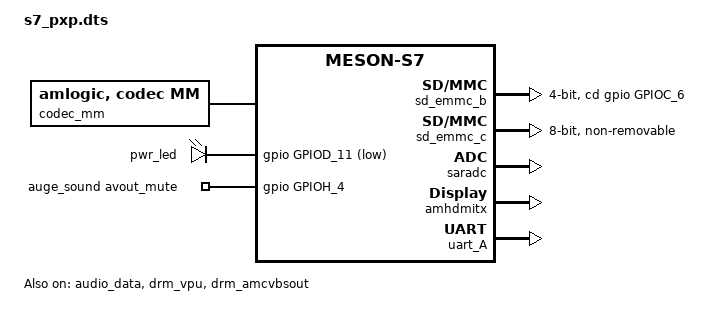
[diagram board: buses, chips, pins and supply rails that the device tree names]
// SPDX-License-Identifier: (GPL-2.0+ OR MIT)
/*
 * Copyright (c) 2021 Amlogic, Inc. All rights reserved.
 */

/dts-v1/;

#include "meson-s7.dtsi"
#include "mesons7_drm.dtsi"
#include "mesons7_audio.dtsi"
/ {
	amlogic-dt-id = "s7_pxp";
	compatible = "s7_pxp";
	interrupt-parent = <&gic>;
	#address-cells = <2>;
	#size-cells = <2>;

	aliases {
		serial0 = &uart_B;
		serial1 = &uart_A;
		serial2 = &uart_C;
		serial3 = &uart_D;
		serial4 = &uart_E;
		i2c0 = &i2c0;
		i2c1 = &i2c1;
		i2c2 = &i2c2;
		i2c3 = &i2c3;
		i2c4 = &i2c4;
		spi0 = &spifc;
		spi1 = &spicc0;
		tsensor0 = &p_tsensor;
	};

	memory@00000000 {
		device_type = "memory";
		linux,usable-memory = <0x0 0x0 0x0 0x80000000>;
	};

	reserved-memory {
		#address-cells = <2>;
		#size-cells = <2>;
		ranges;

		ramdump_bl33z@00000000 {
			reg = <0x0 0x0 0x0 0x1800000>; /* 0 ~ 24M */
			status = "disabled";
		};

		/* global autoconfigured region for contiguous allocations */
		ramoops@0x07400000 {
			compatible = "ramoops";
			reg = <0x0 0x07400000 0x0 0x00100000>;
			record-size = <0x20000>;
			console-size = <0x40000>;
			ftrace-size = <0x80000>;
			pmsg-size = <0x10000>;
			bconsole-size = <0x10000>;
		};

		debug_reserved:linux,iotrace {
			compatible = "amlogic, iotrace";
			reg = <0x0 0x04f00000 0x0 0x00100000>;
			io-size = <0x1b000>;
			sched-size = <0x2000>;
			irq-size = <0x1000>;
			smc-size = <0x1000>;
			misc-size = <0x1000>;
		};

		secmon_reserved:linux,secmon {
			compatible = "shared-dma-pool";
			/*reusable;*/
			no-map;
			size = <0x0 0x400000>;
			alignment = <0x0 0x400000>;
			reg = <0x0 0x05000000 0x0 0x3400000>;
		};

		logo_reserved:linux,meson-fb {
			compatible = "amlogic, meson-fb";
			alignment = <0x0 0x400000>;
			reg = <0x0 0x1f800000 0x0 0x800000>;
		};

		ion_cma_reserved:linux,ion-dev {
			compatible = "shared-dma-pool";
			reusable;
			size = <0x0 0x8000000>;
			alignment = <0x0 0x400000>;
		};
		ion_fb_reserved:linux,ion-fb {
			compatible = "shared-dma-pool";
			reusable;
			size = <0x0 0x0>;
			alignment = <0x0 0x400000>;
		};
		dmaheap_cma_reserved:heap-gfx {
			compatible = "shared-dma-pool";
			reusable;
			/* 1080p STB androidT size 56M */
			size = <0x0 0x1000000>;
			alignment = <0x0 0x400000>;
		};
		dmaheap_fb_reserved:heap-fb {
			compatible = "shared-dma-pool";
			reusable;
			size = <0x0 0x0>;
			alignment = <0x0 0x400000>;
		};
		/*di CMA pool */
		di_cma_reserved:linux,di_cma {
			compatible = "shared-dma-pool";
			reusable;
			/* buffer_size = 3621952(yuv422 8bit)
			 *  | 4736064(yuv422 10bit)
			 *  | 4074560(yuv422 10bit full pack mode)
			 * 10x3621952=34.6M(0x23) support 8bit
			 * 10x4736064=45.2M(0x2e) support 12bit
			 * 10x4074560=40M(0x28) support 10bit
			 */
			//size = <0x0 0x0B000000>;
			//size = <0x0 0x0>;
			alignment = <0x0 0x400000>;
		};

		/*  POST PROCESS MANAGER */
		ppmgr_reserved:linux,ppmgr {
			compatible = "shared-dma-pool";
			size = <0x0 0x0>;
		};

		codec_mm_cma:linux,codec_mm_cma {
			compatible = "shared-dma-pool";
			reusable;
			/* ion_codec_mm max can alloc size 80M*/
			size = <0x0 0x1bc00000>;
			alignment = <0x0 0x400000>;
			alloc-ranges = <0x0 0x0 0x0 0xe0000000>;
			linux,contiguous-region;
		};

		/* codec shared reserved */
		codec_mm_reserved:linux,codec_mm_reserved {
			compatible = "amlogic, codec-mm-reserved";
			size = <0x0 0x0>;
			alignment = <0x0 0x100000>;
			//no-map;
		};

		/*  vdin0 CMA pool */
		//vdin0_cma_reserved:linux,vdin0_cma {
		//	compatible = "shared-dma-pool";
		//	reusable;
			/* up to 1920x1080 yuv422 8bit and 5 buffers
			 * 1920x1080x2x5 = 20 M
			 */
		//	size = <0x0 0x01400000>;
		//	alignment = <0x0 0x400000>;
		//};
		/*  vdin1 CMA pool */
		vdin1_cma_reserved:linux,vdin1_cma {
			compatible = "shared-dma-pool";
			reusable;
			/* up to 1920x1080 yuv422 8bit and 5 buffers
			 * 1920x1080x2x5 = 20 M
			 */
			size = <0x0 0x01400000>;
			alignment = <0x0 0x400000>;
		};
		/* global autoconfigured region for contiguous allocations */
		linux,cma {
			compatible = "shared-dma-pool";
			reusable;
			size = <0x0 0x800000>;
			alignment = <0x0 0x400000>;
			linux,cma-default;
			alloc-ranges = <0x0 0x0 0x0 0x30000000>;
		};
	};
	codec_mm {
		compatible = "amlogic, codec, mm";
		memory-region = <&codec_mm_cma &codec_mm_reserved>;
		dev_name = "codec_mm";
		status = "okay";
	};
	amdolby_vision {
		compatible = "amlogic, dolby_vision_sc2";
		dev_name = "aml_amdolby_vision_driver";
		status = "disabled";
		tv_mode = <0>;/*1:enable ;0:disable*/
	};

	gpio_leds {
		compatible = "gpio-leds";
		status = "okay";
		pwr_led {
			label = "pwr_led";
			gpios = <&gpio GPIOD_11 GPIO_ACTIVE_LOW>;
			default-state = "on";
		};
	};

	dvb-extern {
		compatible = "amlogic, dvb-extern";
		dev_name = "dvb-extern";
		status = "disabled";

		/* dvb hardware main power. */
		dvb_power_gpio = <&gpio GPIOZ_5 GPIO_ACTIVE_HIGH>;
		dvb_power_value = <1>;
		dvb_power_dir = <0>; /* 0: out, 1: in. */

		fe_num = <3>; /* internal 2 * dvb-c, extern 1 * dvb-s */
		fe0_demod = "internal";
		fe0_tuner0 = <0>; /* use tuner0 */

		fe1_demod = "internal";
		fe1_tuner0 = <1>; /* use tuner1 */

		fe2_demod = "cxd2856";
		fe2_i2c_adap_id = <&i2c4>;
		fe2_demod_i2c_addr = <0xD8>;
		fe2_reset_value = <0>;
		fe2_reset_gpio = <&gpio GPIOZ_4 GPIO_ACTIVE_HIGH>;
		fe2_reset_dir = <0>; /* 0: out, 1: in. */
		fe2_ant_poweron_value = <0>;
		fe2_ant_power_gpio = <&gpio GPIOH_9 GPIO_ACTIVE_HIGH>;
		fe2_ts = <0>;
		fe2_tuner1 = <3>; /* use tuner3, only S. */

		tuner_num = <4>; /* tuner number, multi tuner support */
		tuner0_name = "r836_tuner";
		tuner0_i2c_adap = <&i2c3>;
		tuner0_i2c_addr = <0x1a>; /* 7bit */
		tuner0_xtal = <0>; /* 0: 16MHz, 1: 24MHz */
		tuner0_xtal_mode = <0>;
					/* NO_SHARE_XTAL(0)
					 * SLAVE_XTAL_SHARE(3)
					 */
		tuner0_xtal_cap = <16>;
		tuner0_lt_out = <1>;

		tuner1_name = "r836_tuner";
		tuner1_i2c_adap = <&i2c3>;
		tuner1_i2c_addr = <0x3a>; /* 7bit */
		tuner1_xtal = <0>; /* 0: 16MHz, 1: 24MHz */
		tuner1_xtal_mode = <0>;
					/* NO_SHARE_XTAL(0)
					 * SLAVE_XTAL_SHARE(3)
					 */
		tuner1_xtal_cap = <16>;
		tuner1_lt_out = <1>;

		tuner2_name = "av2018_tuner";
		tuner2_i2c_adap = <&i2c3>;
		tuner2_i2c_addr = <0xC4>; /* 8bit */
		tuner2_lt_out = <1>;

		tuner3_name = "av2018_tuner";
		tuner3_lt_out = <1>;
	};

	dvb-demux {
		compatible = "amlogic sc2, dvb-demux";
		dev_name = "dvb-demux";
		status = "disabled";

		reg = <0x0 0xfe000000 0x0 0x480000>;

		dmxdev_num = <0x11>;

		tsn_from = "demod";

		/*single demod setting */
		ts0_sid = <0x10>;
		ts0 = "serial-4wire"; /* tsinA: serial-4wire, serial-3wire */
		ts0_control = <0x0>;
		ts0_invert = <0>;

		ts1_sid = <0x11>;
		ts1 = "parallel";
		ts1_control = <0x0>;
		ts1_invert = <0>;

		ts2_sid = <0x12>;
		ts2 = "parallel";
		ts2_control = <0x0>;
		ts2_invert = <0>;

		pinctrl-names = "s_ts0";
		pinctrl-0 = <&dvb_s_ts0_pins>;
	};

	ionvideo {
		compatible = "amlogic, ionvideo";
		dev_name = "ionvideo";
		status = "okay";
	};

	amlvideo2_0 {
		compatible = "amlogic, amlvideo2";
		dev_name = "amlvideo2";
		status = "okay";
		amlvideo2_id = <0>;
		cma_mode = <1>;
	};

	amlvideo2_1 {
		compatible = "amlogic, amlvideo2";
		dev_name = "amlvideo2";
		status = "okay";
		amlvideo2_id = <1>;
		cma_mode = <1>;
	};

	ppmgr {
		compatible = "amlogic, ppmgr";
		memory-region = <&ppmgr_reserved>;
		dev_name = "ppmgr";
		status = "disabled";
	};

	amlvecm {
		compatible = "amlogic, vecm-s7";
		dev_name = "aml_vecm";
		status = "okay";
		gamma_en = <0>;/*1:enable ;0:disable*/
		wb_en = <0>;/*1:enable ;0:disable*/
		/*0: 709/601  1: bt2020*/
		tx_op_color_primary = <0>;
	};

	multi-di {
		compatible = "amlogic, dim-s4";
		status = "disabled";
		/* 0:use reserved; 1:use cma; 2:use cma as reserved */
		flag_cma = <4>;	//<1>;
		//memory-region = <&di_reserved>;
		//memory-region = <&di_cma_reserved>;
		interrupts = <0 203 1
				0 202 1>;
		interrupt-names = "pre_irq", "post_irq";
		//clocks = <&clkc CLKID_VPU_CLKB>,
		//	<&clkc CLKID_VPU>;
		//clock-names = "vpu_clkb",
		//	"vpu_mux";
		clock-range = <334 667>;
		/* buffer-size = <3621952>;(yuv422 8bit) */
		buffer-size = <4074560>;/*yuv422 fullpack*/
		/* reserve-iomap = "true"; */
		/* if enable nr10bit, set nr10bit-support to 1 */
		post-wr-support = <1>;
		nr10bit-support = <1>;
		nrds-enable = <1>;
		pps-enable = <1>;
		post_nub = <10>;
	};

	aml_dtv_demod {
		compatible = "amlogic, ddemod-s4";
		dev_name = "aml_dtv_demod";
		status = "disabled";
		/* diseqc_name = "sgm_41286"; */
		pinctrl-names="if_agc_pins", "if_agc2_pins";
		pinctrl-0=<&dtvdemod_if_agc_pins>;
		pinctrl-1=<&dtvdemod_if_agc2_pins>;
		/* pinctrl-2=<&diseqc_out>; */
		/* lnb_en-gpios = <&gpio GPIOZ_2 GPIO_ACTIVE_HIGH>; */
		/* lnb_sel-gpios = <&gpio GPIOZ_3 GPIO_ACTIVE_HIGH>; */
		/* interrupts = <GIC_SPI 142 IRQ_TYPE_EDGE_RISING>; */
		/* interrupt-names = "demod_isr"; */

		//power-domains = <&pwrdm PDID_S4_DEMOD>;
		/* clocks = <&clkc CLKID_DAC_CLK>; */
		/* clock-names = "vdac_clk_gate"; */

		reg = <0x0 0xfe350000 0x0 0x10000	/* dtv demod base */
			   0x0 0xfe000000 0x0 0x2000	/* div base */
			   0x0 0xff800000 0x0 0x1000	/* io_aobus_base */
			   0x0 0xffd01000 0x0 0x1000	/* reset */
			>;

		spectrum = <1>;
		cma_mem_size = <0>; //MB
	};

	provisionkey {
		compatible = "amlogic, provisionkey";
		status = "disabled";
		key-permit-default = "write";
		//new key not need add dts if started with KEY_PROVISION_
		KEY_PROVISION_XXX { };
		//test_my_added_keyname { };
	};//End provisionkey

	unifykey{
		compatible = "amlogic,unifykey";
		status = "okay";
		unifykey-num = <19>;
		unifykey-index-0 = <&keysn_0>;
		unifykey-index-1 = <&keysn_1>;
		unifykey-index-2 = <&keysn_2>;
		unifykey-index-3 = <&keysn_3>;
		unifykey-index-4 = <&keysn_4>;
		unifykey-index-5 = <&keysn_5>;
		unifykey-index-6 = <&keysn_6>;
		unifykey-index-7 = <&keysn_7>;
		unifykey-index-8 = <&keysn_8>;
		unifykey-index-9 = <&keysn_9>;
		unifykey-index-10= <&keysn_10>;
		unifykey-index-11= <&keysn_11>;
		unifykey-index-12= <&keysn_12>;
		unifykey-index-13= <&keysn_13>;
		unifykey-index-14= <&keysn_14>;
		unifykey-index-15= <&keysn_15>;
		unifykey-index-16= <&keysn_16>;
		unifykey-index-17= <&keysn_17>;
		unifykey-index-18= <&keysn_18>;

		keysn_0: key_0{
			key-name = "usid";
			key-device = "normal";
			key-permit = "read","write","del";
		};
		keysn_1:key_1{
			key-name = "mac";
			key-device = "normal";
			key-permit = "read","write","del";
		};
		keysn_2:key_2{
			key-name = "hdcp";
			key-device = "secure";
			key-type = "sha1";
			key-permit = "read","write","del";
		};
		keysn_3:key_3{
			key-name = "secure_boot_set";
			key-device = "efuse";
			key-permit = "write";
		};
		keysn_4:key_4{
			key-name = "mac_bt";
			key-device = "normal";
			key-permit = "read","write","del";
			key-type  = "mac";
		};
		keysn_5:key_5{
			key-name = "mac_wifi";
			key-device = "normal";
			key-permit = "read","write","del";
			key-type = "mac";
		};
		keysn_6:key_6{
			key-name = "hdcp2_tx";
			key-device = "normal";
			key-permit = "read","write","del";
		};
		keysn_7:key_7{
			key-name = "hdcp2_rx";
			key-device = "normal";
			key-permit = "read","write","del";
		};
		keysn_8:key_8{
			key-name = "widevinekeybox";
			key-device = "secure";
			key-permit = "read","write","del";
		};
		keysn_9:key_9{
			key-name = "deviceid";
			key-device = "normal";
			key-permit = "read","write","del";
		};
		keysn_10:key_10{
			key-name = "hdcp22_fw_private";
			key-device = "secure";
			key-permit = "read","write","del";
		};
		keysn_11:key_11{
			key-name = "PlayReadykeybox25";
			key-device = "secure";
			key-permit = "read","write","del";
		};
		keysn_12:key_12{
			key-name = "prpubkeybox";//PlayReady
			key-device = "secure";
			key-permit = "read","write","del";
		};
		keysn_13:key_13{
			key-name = "prprivkeybox";//PlayReady
			key-device = "secure";
			key-permit = "read","write","del";
		};
		keysn_14:key_14{
			key-name = "attestationkeybox";//attestation key
			key-device = "secure";
			key-permit = "read","write","del";
		};
		keysn_15:key_15{
			key-name = "region_code";
			key-device = "normal";
			key-permit = "read","write","del";
		};
		keysn_16:key_16{
			key-name = "netflix_mgkid";
			key-device = "secure";
			key-permit = "read","write","del";
		};
		keysn_17:key_17{
			key-name = "attestationdevidbox";//attest dev id box
			key-device = "secure";
			key-permit = "read","write","del";
		};
		keysn_18:key_18{
			key-name = "oemkey";
			key-device = "normal";
			key-permit = "read","write","del";
		};
	};//End unifykey

	efusekey:efusekey{
		keynum = <4>;
		key0 = <&key_0>;
		key1 = <&key_1>;
		key2 = <&key_2>;
		key3 = <&key_3>;
		key_0:key_0{
			keyname = "mac";
			offset = <0>;
			size = <6>;
		};
		key_1:key_1{
			keyname = "mac_bt";
			offset = <6>;
			size = <6>;
		};
		key_2:key_2{
			keyname = "mac_wifi";
			offset = <12>;
			size = <6>;
		};
		key_3:key_3{
			keyname = "usid";
			offset = <18>;
			size = <16>;
		};
	};//End efusekey
	/* Audio Related start */
	auge_sound {
		compatible = "amlogic, auge-sound-card";
		aml-audio-card,name = "AML-AUGESOUND";

		/*avout mute gpio*/
		avout_mute-gpios = <&gpio GPIOH_4 GPIO_ACTIVE_HIGH>;
		av_mute_sleep_time = <700>;
		aml-audio-card,dai-link@0 {
			format = "dsp_a";
			mclk-fs = <512>;
			//continuous-clock;
			//bitclock-inversion;
			//frame-inversion;
			/* master mode */
			bitclock-master = <&tdma>;
			frame-master = <&tdma>;
			/* slave mode */
			/*
			 * bitclock-master = <&tdmacodec>;
			 * frame-master = <&tdmacodec>;
			 */
			suffix-name = "alsaPORT-pcm";
			tdmacpu: cpu {
				sound-dai = <&tdma>;
				dai-tdm-slot-tx-mask =
							<1>;
				dai-tdm-slot-rx-mask =
							<1>;
				dai-tdm-slot-num = <2>;
				dai-tdm-slot-width = <16>;
				system-clock-frequency = <256000>;
			};
			tdmacodec: codec {
				sound-dai = <&dummy_codec>;
			};
		};

		aml-audio-card,dai-link@1 {
			format = "i2s";//"dsp_a";
			mclk-fs = <256>;
			continuous-clock;
			//bitclock-inversion;
			//frame-inversion;
			/* master mode */
			bitclock-master = <&tdmb>;
			frame-master = <&tdmb>;
			/* slave mode */
			//bitclock-master = <&tdmbcodec>;
			//frame-master = <&tdmbcodec>;
			/* suffix-name, sync with android audio hal
			 * what's the dai link used for
			 */
			suffix-name = "alsaPORT-i2s";
			cpu {
				sound-dai = <&tdmb>;
				dai-tdm-slot-tx-mask = <1 1>;
				dai-tdm-slot-rx-mask = <1 1>;
				dai-tdm-slot-num = <2>;
				/*
				 * dai-tdm-slot-tx-mask =
				 *	<1 1 1 1 1 1 1 1>;
				 * dai-tdm-slot-rx-mask =
				 *	<1 1 1 1 1 1 1 1>;
				 * dai-tdm-slot-num = <8>;
				 */
				dai-tdm-slot-width = <32>;
				system-clock-frequency = <12288000>;
			};
			tdmbcodec: codec {
				sound-dai = <&amlogic_codec>;
			};
		};

		aml-audio-card,dai-link@2 {
			format = "i2s";
			mclk-fs = <256>;
			//continuous-clock;
			//bitclock-inversion;
			//frame-inversion;
			/* master mode */
			bitclock-master = <&tdmc>;
			frame-master = <&tdmc>;
			/* slave mode */
			//bitclock-master = <&tdmccodec>;
			//frame-master = <&tdmccodec>;
			/* suffix-name, sync with android audio hal used for */
			suffix-name = "alsaPORT-i2s";
			cpu {
				sound-dai = <&tdmc>;
				dai-tdm-slot-tx-mask = <1 1>;
				dai-tdm-slot-rx-mask = <1 1>;
				dai-tdm-slot-num = <2>;
				dai-tdm-slot-width = <32>;
				system-clock-frequency = <12288000>;
			};
			tdmccodec: codec {
				sound-dai = <&dummy_codec>;
			};
		};


		aml-audio-card,dai-link@4 {
			mclk-fs = <128>;
			/* suffix-name, sync with android audio hal used for */
			suffix-name = "alsaPORT-spdif";
			cpu {
				sound-dai = <&spdifa>;
				system-clock-frequency = <6144000>;
			};
			codec {
				sound-dai = <&dummy_codec>;
			};
		};
		/* spdif_b to hdmi, only playback */
		aml-audio-card,dai-link@5 {
			mclk-fs = <128>;
			continuous-clock;
			/* suffix-name, sync with android audio hal
			 * what's the dai link used for
			 */
			suffix-name = "alsaPORT-spdifb";
			cpu {
				sound-dai = <&spdifb>;
				system-clock-frequency = <6144000>;
			};
			codec {
				sound-dai = <&dummy_codec>;
			};
		};

	};

	picdec {
		compatible = "amlogic, picdec";
		status = "disabled";
	};

	audiolocker: locker {
		compatible = "amlogic, audiolocker";
		clock-names = "lock_out", "lock_in", "out_src",
					"in_src", "out_calc", "in_ref";
		interrupts = <GIC_SPI 1 IRQ_TYPE_EDGE_RISING>;
		interrupt-names = "irq";
		frequency = <49000000>; /* pll */
		dividor = <49>; /* locker's parent */
		status = "disabled";
	};/* Audio Related end */

	adc_keypad {
		compatible = "amlogic, adc_keypad";
		status = "disabled";
		key_name = "standby", "vol+", "vol-";
		key_num = <3>;
		io-channels = <&saradc 0>;
		io-channel-names = "key-chan-0";
		key_chan = <0 0 0>;
		key_code = <116 115 114>;
		key_val = <20 910 630>; //val=voltage/1800mV*1023
		key_tolerance = <40 40 40>;
	};

	gpio_keypad{
		compatible = "amlogic, gpio_keypad";
		status = "disabled";
		scan_period = <20>;
		key_num = <2>;
		key_name = "bluetooth", "mute";
		key_code = <600 SW_MUTE_DEVICE>;
		key_type = <EV_KEY EV_SW>;
		key-gpios = <&gpio  GPIOD_2  GPIO_ACTIVE_HIGH
			     &gpio  GPIOD_3  GPIO_ACTIVE_HIGH>;
		detect_mode = <0>;/*0:polling mode, 1:irq mode*/
	};
};

&i2c3 {
	status = "disabled";
	pinctrl-names="default";
	pinctrl-0=<&i2c3_pins2>;
	clock-frequency = <300000>;
};

&i2c4 {
	status = "disabled";
	pinctrl-names="default";
	pinctrl-0=<&i2c4_pins3>;
	clock-frequency = <300000>;
};

&i2c1 {
	status = "disabled";
	pinctrl-names="default";
	pinctrl-0=<&i2c1_pins2>;
	clock-frequency = <300000>; /* default 100k */

	tlc59116: tlc59116@60 {
		compatible = "amlogic,tlc59116_led";
		reg = <0x60>;
		status = "disabled";

		led0 {
			default_colors = <0 0 0>;
			r_io_number = <0>;
			g_io_number = <10>;
			b_io_number = <5>;
		};

		led1 {
			default_colors = <0 0 0>;
			r_io_number = <1>;
			g_io_number = <11>;
			b_io_number = <6>;
		};

		led2 {
			default_colors = <0 0 0>;
			r_io_number = <2>;
			g_io_number = <12>;
			b_io_number = <7>;
		};

		led3 {
			default_colors = <0 0 0>;
			r_io_number = <3>;
			g_io_number = <13>;
			b_io_number = <8>;
		};
	};
	aw9523: aw9523_led@5b {
		compatible = "amlogic,aw9523b_led";
		reg = <0x5b>;
		status = "disabled";
		reset-gpio = <&gpio GPIOD_10 GPIO_ACTIVE_HIGH>;
		platform = <4>;

		led1 {
			default_colors = <0 0 0>;
			r_io_number = <0>;
			g_io_number = <10>;
			b_io_number = <5>;
		};

		led2 {
			default_colors = <0 0 0>;
			r_io_number = <1>;
			g_io_number = <11>;
			b_io_number = <6>;
		};

		led3 {
			default_colors = <0 0 0>;
			r_io_number = <2>;
			g_io_number = <12>;
			b_io_number = <7>;
		};

		led4 {
			default_colors = <0 0 0>;
			r_io_number = <3>;
			g_io_number = <13>;
			b_io_number = <8>;
		};
		led9 {
			default_colors = <0 0 0>;
			r_io_number = <4>;
			g_io_number = <14>;
			b_io_number = <9>;
		};
	};
};

&vddcpu0 {
	status = "okay";
};

&pinctrl_audio {
	tdm_d0_pins: tdm_d0_pin {
		mux {
			groups = "tdm_d0";
			function = "tdmouta_lane0";
		};
	};

	tdm_d1_pins: tdm_d1_pin {
		mux {
			groups = "tdm_d1";
			function = "tdmina_lane0";
		};
	};

	tdma_clk_pins: tdm_clk_pin {
		mux {
			groups = "tdm_sclk0", "tdm_lrclk0";
			function = "tdm_clk_outa";
		};
	};
};

&periphs_pinctrl {
	dvb_s_ts0_pins: dvb_s_ts0_pins {
		tsin_a {
			groups = "tsin_a_sop",
				"tsin_a_valid",
				"tsin_a_clk",
				"tsin_a_din0";
			function = "tsin_a";
		};
	};
}; /* end of periphs_pinctrl */

&audio_data {
	status = "okay";
};

/* SDIO */
&sd_emmc_a {
	status = "disabled";
	pinctrl-0 = <&sdio_pins>;
	pinctrl-1 = <&sdio_clk_gate_pins>;
	pinctrl-names = "default", "clk-gate";
	#address-cells = <1>;
	#size-cells = <0>;

	bus-width = <4>;
	cap-sd-highspeed;
	sd-uhs-sdr50;
	sd-uhs-sdr104;
	max-frequency = <200000000>;

	non-removable;
	disable-wp;

	//vmmc-supply = <&vddao_3v3>;
	//vqmmc-supply = <&vddio_ao1v8>;

	brcmf: wifi@1 {
		reg = <1>;
		compatible = "brcm,bcm4329-fmac";
	};
};

/* SD card */
&sd_emmc_b {
	status = "okay";
	pinctrl-0 = <&sdcard_pins>;
	pinctrl-1 = <&sdcard_clk_gate_pins>;
	pinctrl-2 = <&sd_1bit_pins>;
	//pinctrl-3 = <&sd_to_ao_uart_clr_pins
	//	&sdcard_pins &ao_to_sd_uart_pins>;
	//pinctrl-4 = <&sd_to_ao_uart_clr_pins
	//	&sd_1bit_pins &ao_to_sd_uart_pins>;
	//pinctrl-5 = <&sdcard_pins &ao_uart_pins>;
	//pinctrl-6 = <&sd_to_ao_uart_clr_pins
	//	&ao_to_sd_uart_pins>;
	//pinctrl-7 = <&sdcard_pins &ao_uart_pins>;
	//pinctrl-8 = <&sd_to_ao_uart_clr_pins
	//	&ao_to_sd_uart_pins>;
	pinctrl-names = "sd_default",
			"clk-gate",
			"sd_1bit_pins";
	//		"sd_clk_cmd_uart_pins",
	//		"sd_1bit_uart_pins",
	//		"sd_to_ao_uart_pins",
	//		"ao_to_sd_uart_pins",
	//		"sd_to_ao_jtag_pins",
	//		"ao_to_sd_jtag_pins";
	bus-width = <4>;
	cap-sd-highspeed;
//	sd-uhs-sdr12;
//	sd-uhs-sdr25;
//	sd-uhs-sdr50;
//	sd-uhs-sdr104;
	max-frequency = <200000000>;
	disable-wp;

	cd-gpios = <&gpio GPIOC_6 GPIO_ACTIVE_HIGH>;
	//dat1-gpios = <&gpio GPIOC_1 GPIO_ACTIVE_HIGH>;
	//vmmc-supply = <&vddao_3v3>;
	//vqmmc-supply = <&emmc_1v8>;
};

&sd_emmc_c {
	status = "okay";
	pinctrl-0 = <&emmc_pins>, <&emmc_ds_pins>;
	pinctrl-1 = <&emmc_clk_gate_pins>;
	pinctrl-names = "default", "clk-gate";

	bus-width = <8>;
	cap-mmc-highspeed;
//	mmc-ddr-1_8v;
//	mmc-hs200-1_8v;
//	mmc-hs400-1_8v;
	max-frequency = <200000000>;
	non-removable;
	disable-wp;

//	mmc-pwrseq = <&emmc_pwrseq>;
//	vmmc-supply = <&vddao_3v3>;
//	vqmmc-supply = <&vddao_1v8>;
};

&mtd_nand {
	status = "disabled";
	#address-cells = <1>;
	#size-cells = <0>;

	pinctrl-names = "nand_norb_mod","nand_cs_only";
	pinctrl-0 = <&all_nand_pins>;
	pinctrl-1 = <&nand_cs_pins>;
	bl_mode = <1>;
	fip_copies = <4>;
	fip_size = <0x200000>;
	ship_bad_block = <1>;
	disa_irq_flag = <1>;
	nand@bootloader {
		reg = <0>;
		#address-cells = <1>;
		#size-cells = <1>;
		nand-ecc-maximize;
		partition@0 {
			label = "bootloader";
			reg = <0x0 0x00000000>;
		};
	};
	nand@normal {
		reg = <0>;
		#address-cells = <1>;
		#size-cells = <1>;
		nand-ecc-maximize;

		partition@0 {
			label = "bl2e";
			reg = <0x0 0x00000000>;
		};
		partition@1 {
			label = "bl2x";
			reg = <0x0 0x00000000>;
		};
		partition@2 {
			label = "ddrfip";
			reg = <0x0 0x00000000>;
		};
		partition@3 {
			label = "tpl";
			reg = <0x0 0x00000000>;
		};
		partition@4 {
			/* Do not modify before the factory partition */
			label = "factory";
			reg = <0x0 0x0800000>;
		};
		partition@5 {
			label = "tee";
			reg = <0x0 0x800000>;
		};
		partition@6 {
			label = "logo";
			reg = <0x0 0x200000>;
		};
		partition@7 {
			label = "misc";
			reg = <0x0 0x800000>;
		};
		partition@8 {
			label = "recovery";
			reg = <0x0 0x2000000>;
		};
		partition@9 {
			label = "boot";
			reg = <0x0 0x2200000>;
		};
		partition@10 {
			label = "system";
			reg = <0x0 0xE000000>;
		};
		partition@11 {
			label = "vendor";
			reg = <0x0 0x1000000>;
		};
		partition@12 {
			label = "vbmeta";
			reg = <0x0 0x0100000>;
		};
		partition@13 {
			label = "data";
			reg = <0x0 0xffffffff>;
		};
	};
};

&saradc {
	status = "okay";

	pd {
		enabled;
	};
};

&ethmac {
	status = "disabled";
	phy-handle = <&internal_ephy>;
	phy-mode = "rmii";
	keep-alive = <1>;
};

&ir {
	status = "disabled";
	pinctrl-0 = <&remote_pins>;
	pinctrl-names = "default";
};

&spicc0 {
	status = "disabled";
	pinctrl-names = "default";
	pinctrl-0 = <&spicc0_pins_x>;
};

&spifc {
	status = "disabled";
	spi-nor@0 {
		status = "disabled";
	};
};

&fb {
	status = "disabled";
	display_size_default = <1920 1080 1920 2160 32>;
	mem_size = <0x00800000 0x1980000 0x100000>;
	logo_addr = "0x1f800000";
	mem_alloc = <0>;
	pxp_mode = <0>; /** 0:normal mode 1:pxp mode */
};

&drm_vpu {
	status = "okay";
	logo_addr = "0x1fc00000";

};

&amhdmitx {
	res_1080p = <1>;
	status = "okay";
    /* hdcp ctrl 0: sysctrl, 1: drv, 2: linux app */
	hdcp_ctl_lvl = <1>;
	pxp_mode = <1>;
};

&cvbsout {
	status = "disabled";
};

&drm_amhdmitx {
	status = "disabled";
	hdcp = "disabled";
};

&drm_amcvbsout {
	status = "okay";
};

/*if you want to use vdin just modify status to "ok"*/
&vdin0 {
	/*compatible = "amlogic, vdin-s7";*/
	/*memory-region = <&vdin0_cma_reserved>;*/
	/*status = "disabled";*/
	/* up to 1920x1080 yuv422 8bit and 5 buffers
	 * 1920x1080x2x5 = 20 M
	 */
	cma_size = <20>;
	/*vdin write mem color depth support:
	 *bit0:support 8bit
	 *bit1:support 9bit
	 *bit2:support 10bit
	 *bit3:support 12bit
	 *bit4:support yuv422 10bit full pack mode (from txl new add)
	 */
	tv_bit_mode = <0x1>;
};

&vdin1 {
	/*compatible = "amlogic, vdin-s7";*/
	memory-region = <&vdin1_cma_reserved>;
	frame_buff_num = <4>;
	/*status = "disabled";*/
	/*vdin write mem color depth support:
	 *bit0:support 8bit
	 *bit1:support 9bit
	 *bit2:support 10bit
	 *bit3:support 12bit
	 */
	tv_bit_mode = <1>;
};

&aml_wifi{
	status = "disabled";
	interrupt-gpios = <&gpio  GPIOX_7  GPIO_ACTIVE_HIGH>;
	power_on-gpios = <&gpio   GPIOX_6  GPIO_ACTIVE_HIGH>;
};

&aml_bt {
	status = "disabled";
	reset-gpios = <&gpio    GPIOX_17 GPIO_ACTIVE_HIGH>;
	btwakeup-gpios = <&gpio    GPIOX_18 GPIO_ACTIVE_HIGH>;
	hostwake-gpios = <&gpio GPIOX_19 GPIO_ACTIVE_HIGH>;
};

&uart_A {
	status = "okay";
	uart-has-rtscts;
};

&cma_shrinker {
	free = <7680 24288 28528 32600 32768 36624>;
};

&drm_subsystem {
	fbdev_sizes = <1280 720 1280 1440 32>;
};

&amlogic_codec {
	tocodec_inout = <1>;
	tdmout_index = <1>;
};
